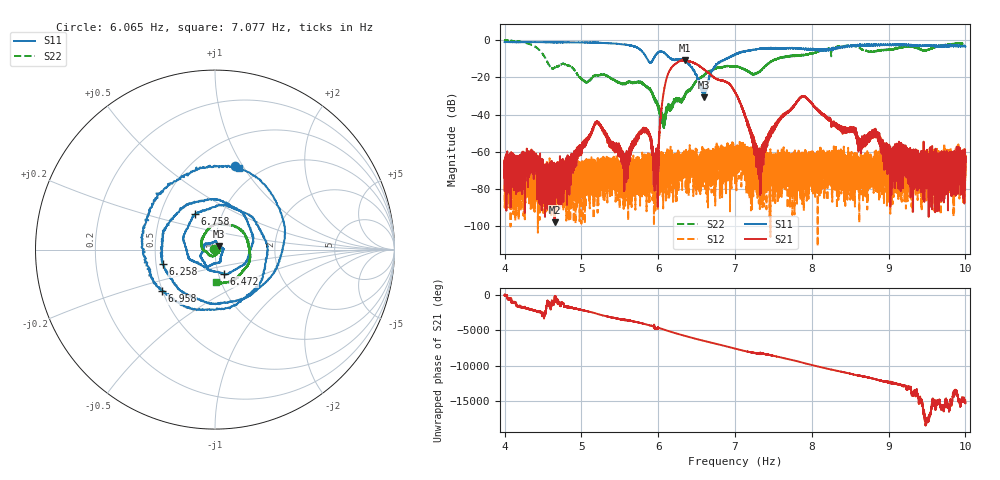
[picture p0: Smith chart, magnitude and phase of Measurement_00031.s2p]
!Created with skrf (http://scikit-rf.org).
# Hz S RI R 50.0
!freq ReS11 ImS11 ReS21 ImS21 ReS12 ImS12 ReS22 ImS22
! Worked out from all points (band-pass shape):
!   14001 points, 4 Hz to 10 Hz, reference 50 ohm
!   highest |S21| = -10.68 dB at 6.344 Hz (marker M1); lowest = -97.8 dB at 4.65 Hz (marker M2)
!   |S21| within 3 dB of the highest: 6.197 Hz to 6.528 Hz (331.4 mHz wide, 5.21 % of centre); 6.529147 Hz to 6.52954 Hz (393.2 uHz wide, 0.00602 % of centre)
!   lowest |S11| = -30.7 dB at 6.598 Hz (marker M3), VSWR 1.06, Z = 52.1 + j2.16 ohm
!   |S11| at or under -10 dB: 5.856 Hz to 5.937 Hz (81.17 mHz wide, 1.38 % of centre); 6.171 Hz to 6.892 Hz (721 mHz wide, 11 % of centre); 6.892654 Hz to 6.893458 Hz (804.4 uHz wide, 0.0117 % of centre) (the widest 3 of 7)
!   |S22| runs from -47.9 to -0.2 dB; largest |S21 - S12| = 0.29
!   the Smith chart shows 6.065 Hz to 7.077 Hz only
!   S11 on the Smith chart (normalised r, x): 6.065 Hz: 0.77, +0.92; 6.258 Hz: 0.54, -0.10; 6.472 Hz: 1.06, -0.29; 6.758 Hz: 0.75, +0.31; 6.958 Hz: 0.50, -0.27; 7.077 Hz: 0.81, +0.95
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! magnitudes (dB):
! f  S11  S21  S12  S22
! 4 Hz  -1.0  -69.9  -71.9  -0.2
! 4.65 Hz  -1.1  -97.8  -70.6  -14.8
! 5 Hz  -1.2  -60.9  -98.6  -20.7
! 5.205 Hz  -1.4  -43.7  -75.8  -18.8
! 5.567 Hz  -2.4  -73.4  -79.7  -23.6
! 5.809 Hz  -6.9  -48.6  -70.8  -23.7
! 5.967 Hz  -8.0  -63.7  -65.8  -32.7
! 6 Hz  -6.6  -64.3  -66.5  -36.0
! 6.065 Hz  -6.4  -29.6  -65.8  -41.4
! 6.258 Hz  -10.4  -11.8  -68.0  -31.8
! 6.344 Hz  -11.0  -10.7  -67.2  -30.5
! 6.472 Hz  -16.9  -12.4  -77.5  -23.2
! 6.598 Hz  -30.7  -15.8  -61.4  -18.8
! 6.758 Hz  -12.9  -20.9  -69.5  -14.9
! 6.958 Hz  -8.5  -25.1  -61.9  -14.2
! 7 Hz  -7.7  -27.8  -59.8  -13.9
! 7.077 Hz  -6.5  -34.6  -64.7  -14.9
! 7.311 Hz  -4.7  -63.2  -71.5  -17.3
! 7.609 Hz  -4.5  -41.5  -65.5  -9.3
! 8 Hz  -5.2  -33.9  -63.2  -6.9
! 9 Hz  -2.6  -61.6  -71.0  -5.1
! 10 Hz  -3.5  -72.5  -60.0  -3.1
